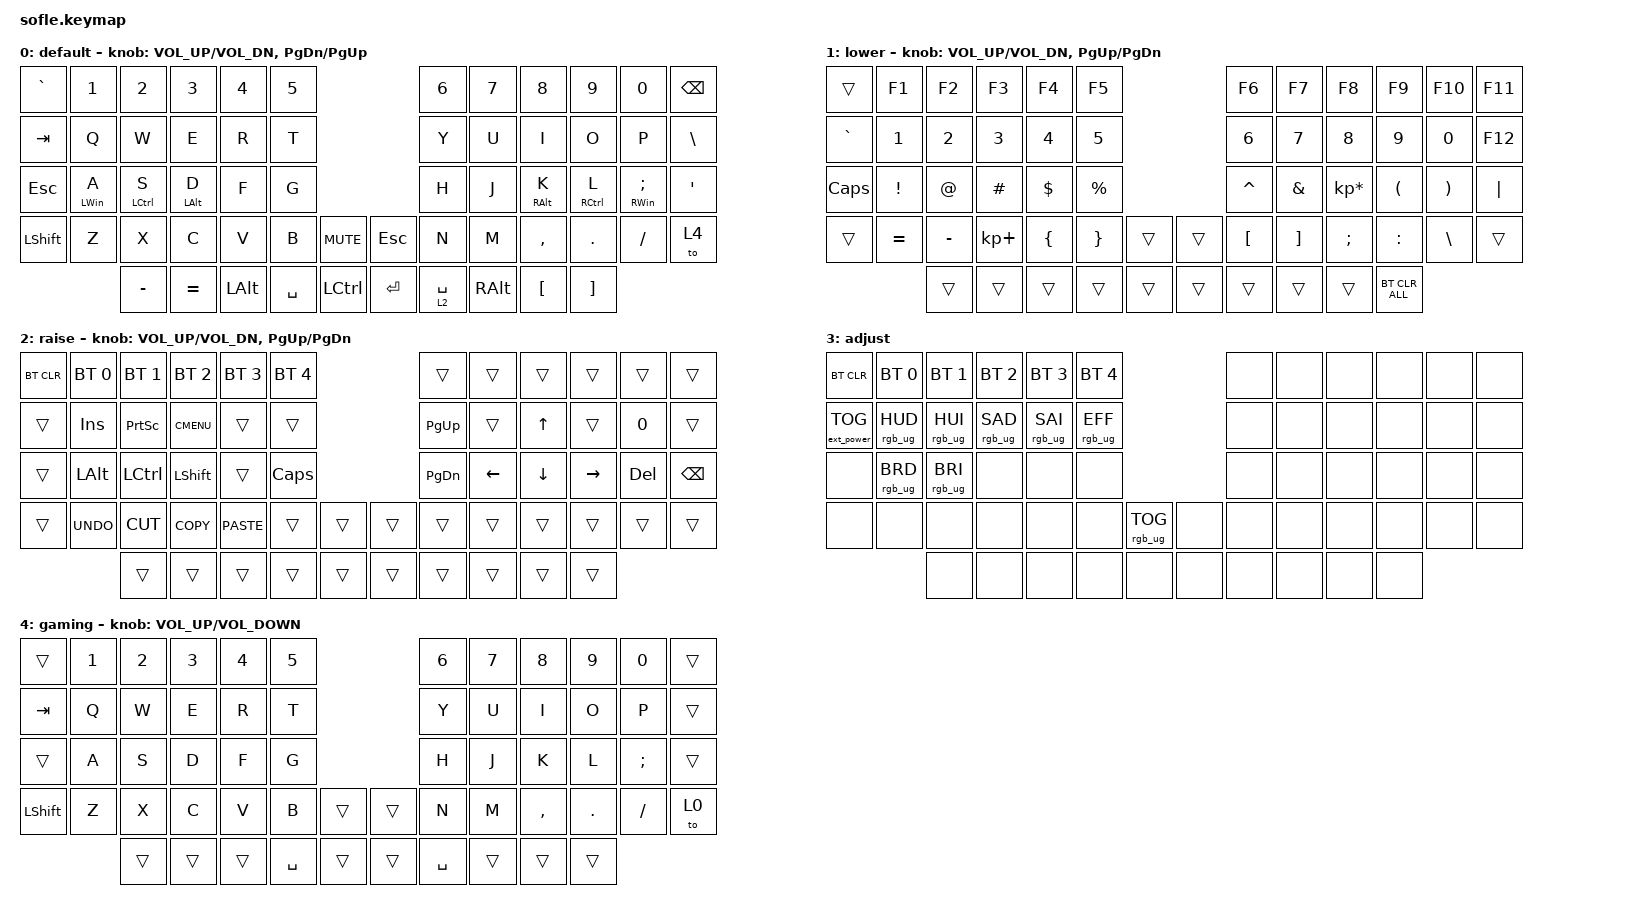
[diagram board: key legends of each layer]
/*
 * Copyright (c) 2020 The ZMK Contributors
 *
 * SPDX-License-Identifier: MIT
 */

#include <behaviors.dtsi>
#include <dt-bindings/zmk/bt.h>
#include <dt-bindings/zmk/ext_power.h>
#include <dt-bindings/zmk/keys.h>
#include <dt-bindings/zmk/rgb.h>

#define BASE 0
#define LOWER 1
#define RAISE 2
#define ADJUST 3

&mt { flavor = "balanced"; };

/ {
    // Activate ADJUST layer by pressing raise and lower

    conditional_layers {
        compatible = "zmk,conditional-layers";

        adjust_layer {
            if-layers = <1 2>;
            then-layer = <3>;
        };
    };

    combos { compatible = "zmk,combos"; };

    keymap {
        compatible = "zmk,keymap";

        default_layer {
            label = "default";

            // ------------------------------------------------------------------------------------------------------------
            // |   `   |  1  |  2  |  3   |  4   |  5   |                   |  6   |  7    |  8    |  9   |   0   |       |
            // |  ESC  |  Q  |  W  |  E   |  R   |  T   |                   |  Y   |  U    |  I    |  O   |   P   | BKSPC |
            // |  TAB  |  A  |  S  |  D   |  F   |  G   |                   |  H   |  J    |  K    |  L   |   ;   |   '   |
            // | SHIFT |  Z  |  X  |  C   |  V   |  B   |  MUTE  |  |       |  N   |  M    |  ,    |  .   |   /   | SHIFT |
            //               | GUI | ALT  | CTRL | LOWER|  ENTER |  | SPACE | RAISE| CTRL  | ALT   | GUI  |

            bindings = <
&kp GRAVE   &kp N1      &kp N2       &kp N3          &kp N4        &kp N5                              &kp N6       &kp N7         &kp N8            &kp N9             &kp N0              &kp BACKSPACE
&kp TAB     &kp Q       &kp W        &kp E           &kp R         &kp T                               &kp Y        &kp U          &kp I             &kp O              &kp P               &kp BACKSLASH
&kp ESCAPE  &mt LWIN A  &mt LCTRL S  &mt LEFT_ALT D  &kp F         &kp G                               &kp H        &kp J          &mt RIGHT_ALT K   &mt RCTRL L        &mt RIGHT_WIN SEMI  &kp SQT
&kp LSHFT   &kp Z       &kp X        &kp C           &kp V         &kp B      &kp C_MUTE    &kp ESC    &kp N        &kp M          &kp COMMA         &kp DOT            &kp FSLH            &to 4
                        &kp MINUS    &kp EQUAL       &kp LEFT_ALT  &kp SPACE  &kp LCTRL     &kp ENTER  &lt 2 SPACE  &kp RIGHT_ALT  &kp LEFT_BRACKET  &kp RIGHT_BRACKET
            >;

            sensor-bindings =
                <&inc_dec_kp C_VOL_UP C_VOL_DN>,
                <&inc_dec_kp PAGE_DOWN PAGE_UP>;
        };

        lower_layer {
            label = "lower";

            // TODO: Some binds are waiting for shifted keycode support.
            // ------------------------------------------------------------------------------------------------------------
            // |       |  F1 |  F2 |  F3  |  F4  |  F5  |                   |  F6  |  F7   |  F8   |  F9  |  F10  |  F11  |
            // |   `   |  1  |  2  |  3   |  4   |  5   |                   |  6   |  7    |  8    |  9   |   0   |  F12  |
            // |       |  !  |  @  |  #   |  $   |  %   |                   |  ^   |  &    |  *    |  (   |   )   |   |   |
            // |       |  =  |  -  |  +   |  {   |  }   |        |  |       |  [   |  ]    |  ;    |  :   |   \   |       |
            //               |     |      |      |      |        |  |       |      |       |       |      |

            bindings = <
&trans     &kp F1     &kp F2     &kp F3       &kp F4    &kp F5                       &kp F6     &kp F7    &kp F8           &kp F9          &kp F10   &kp F11
&kp GRAVE  &kp N1     &kp N2     &kp N3       &kp N4    &kp N5                       &kp N6     &kp N7    &kp N8           &kp N9          &kp N0    &kp F12
&kp CAPS   &kp EXCL   &kp AT     &kp HASH     &kp DLLR  &kp PRCNT                    &kp CARET  &kp AMPS  &kp KP_MULTIPLY  &kp LPAR        &kp RPAR  &kp PIPE
&trans     &kp EQUAL  &kp MINUS  &kp KP_PLUS  &kp LBRC  &kp RBRC   &trans    &trans  &kp LBKT   &kp RBKT  &kp SEMI         &kp COLON       &kp BSLH  &trans
                      &trans     &trans       &trans    &trans     &trans    &trans  &trans     &trans    &trans           &bt BT_CLR_ALL
            >;

            sensor-bindings = <&inc_dec_kp C_VOL_UP C_VOL_DN &inc_dec_kp PG_UP PG_DN>;
        };

        raise_layer {
            label = "raise";

            // ------------------------------------------------------------------------------------------------------------
            // | BTCLR | BT1  | BT2  |  BT3  |  BT4  |  BT5 |                |      |      |       |      |       |       |
            // |       | INS  | PSCR | GUI   |       |      |                | PGUP |      |   ^   |      |       |       |
            // |       | ALT  | CTRL | SHIFT |       | CAPS |                | PGDN |   <- |   v   |  ->  |  DEL  | BKSPC |
            // |       | UNDO | CUT  | COPY  | PASTE |      |      |  |      |      |      |       |      |       |       |
            //                |      |       |       |      |      |  |      |      |      |       |      |

            bindings = <
&bt BT_CLR  &bt BT_SEL 0  &bt BT_SEL 1  &bt BT_SEL 2  &bt BT_SEL 3  &bt BT_SEL 4                    &trans     &trans    &trans    &trans     &trans   &trans
&trans      &kp INS       &kp PSCRN     &kp K_CMENU   &trans        &trans                          &kp PG_UP  &trans    &kp UP    &trans     &kp N0   &trans
&trans      &kp LALT      &kp LCTRL     &kp LSHFT     &trans        &kp CLCK                        &kp PG_DN  &kp LEFT  &kp DOWN  &kp RIGHT  &kp DEL  &kp BSPC
&trans      &kp K_UNDO    &kp K_CUT     &kp K_COPY    &kp K_PASTE   &trans        &trans    &trans  &trans     &trans    &trans    &trans     &trans   &trans
                          &trans        &trans        &trans        &trans        &trans    &trans  &trans     &trans    &trans    &trans
            >;

            sensor-bindings = <&inc_dec_kp C_VOL_UP C_VOL_DN &inc_dec_kp PG_UP PG_DN>;
        };

        adjust_layer {
            // ----------------------------------------------------------------------------------------------------------------------------
            // | BTCLR  |  BT1    |  BT2    |   BT3   |   BT4   |   BT5   |                  |      |      |       |      |       |       |
            // | EXTPWR | RGB_HUD | RGB_HUI | RGB_SAD | RGB_SAI | RGB_EFF |                  |      |      |       |      |       |       |
            // |        | RGB_BRD | RGB_BRI |         |         |         |                  |      |      |       |      |       |       |
            // |        |         |         |         |         |         | RGB_TOG | |      |      |      |       |      |       |       |
            //                    |         |         |         |         |         | |      |      |      |       |      |

            label = "adjust";
            bindings = <
&bt BT_CLR         &bt BT_SEL 0     &bt BT_SEL 1     &bt BT_SEL 2     &bt BT_SEL 3     &bt BT_SEL 4                               &none  &none  &none  &none  &none  &none
&ext_power EP_TOG  &rgb_ug RGB_HUD  &rgb_ug RGB_HUI  &rgb_ug RGB_SAD  &rgb_ug RGB_SAI  &rgb_ug RGB_EFF                            &none  &none  &none  &none  &none  &none
&none              &rgb_ug RGB_BRD  &rgb_ug RGB_BRI  &none            &none            &none                                      &none  &none  &none  &none  &none  &none
&none              &none            &none            &none            &none            &none            &rgb_ug RGB_TOG    &none  &none  &none  &none  &none  &none  &none
                                    &none            &none            &none            &none            &none              &none  &none  &none  &none  &none
            >;
        };

        gaming {
            bindings = <
&trans     &kp N1  &kp N2  &kp N3  &kp N4  &kp N5                       &kp N6     &kp N7  &kp N8     &kp N9   &kp N0    &trans
&kp TAB    &kp Q   &kp W   &kp E   &kp R   &kp T                        &kp Y      &kp U   &kp I      &kp O    &kp P     &trans
&trans     &kp A   &kp S   &kp D   &kp F   &kp G                        &kp H      &kp J   &kp K      &kp L    &kp SEMI  &trans
&kp LSHFT  &kp Z   &kp X   &kp C   &kp V   &kp B      &trans    &trans  &kp N      &kp M   &kp COMMA  &kp DOT  &kp FSLH  &to 0
                   &trans  &trans  &trans  &kp SPACE  &trans    &trans  &kp SPACE  &trans  &trans     &trans
            >;

            sensor-bindings = <&inc_dec_kp C_VOLUME_UP C_VOLUME_DOWN>;
        };
    };
};
